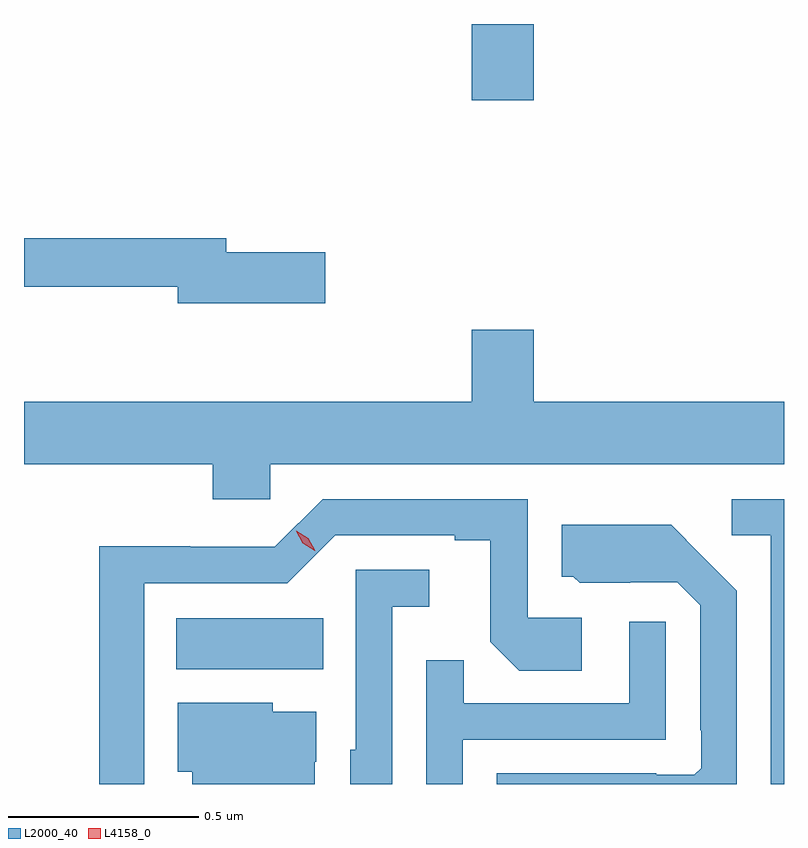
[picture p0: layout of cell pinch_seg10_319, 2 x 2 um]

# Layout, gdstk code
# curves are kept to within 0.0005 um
import gdstk
lib = gdstk.Library(unit=1e-6, precision=1e-09)
def R(c, l, rs):  # rectangles x0, y0, x1, y1
    for r in rs: c.add(gdstk.rectangle(r[:2], r[2:], *l))
def P(c, l, *ps):  # polygons
    for p in ps: c.add(gdstk.Polygon(p, *l))
L2000_40 = (2000, 40)
L4158_0 = (4158, 0)

pinch_seg10_319 = lib.new_cell('pinch_seg10_319')
R(pinch_seg10_319, L2000_40, [(415.979,1290.452,416.366,1290.586), (416.756,1291.95,416.92,1292.15)])
P(pinch_seg10_319, L2000_40, [(416.371,1291.55),(416.11,1291.55),(416.11,1291.586),(415.578,1291.586),(415.578,1291.458),(415.982,1291.458),(415.982,1291.415),(416.371,1291.415)],
  [(416.226,1290.992),(417.578,1290.992),(417.578,1291.156),(416.92,1291.156),(416.92,1291.345),(416.756,1291.345),(416.756,1291.156),(415.578,1291.156),(415.578,1290.992),(416.075,1290.992),(416.075,1290.899),(416.226,1290.899)],
  [(415.894,1290.678),(416.271,1290.678),(416.397,1290.804),(416.711,1290.804),(416.711,1290.792),(416.805,1290.792),(416.805,1290.524),(416.881,1290.448),(417.046,1290.448),(417.046,1290.588),(416.904,1290.588),(416.904,1290.9),(416.364,1290.9),(416.238,1290.774),(416.016,1290.774),(416.016,1290.776),(415.776,1290.776),(415.776,1290.15),(415.894,1290.15)],
  [(417.578,1290.9),(417.441,1290.9),(417.441,1290.804),(417.543,1290.804),(417.543,1290.15),(417.578,1290.15)],
  [(417.453,1290.658),(417.281,1290.832),(416.993,1290.832),(416.993,1290.696),(417.024,1290.696),(417.04,1290.68),(417.174,1290.68),(417.174,1290.681),(417.297,1290.681),(417.357,1290.621),(417.357,1290.292),(417.36,1290.292),(417.36,1290.192),(417.342,1290.174),(417.242,1290.174),(417.242,1290.178),(416.822,1290.178),(416.822,1290.15),(417.453,1290.15)],
  [(416.547,1290.617),(416.644,1290.617),(416.644,1290.714),(416.451,1290.714),(416.451,1290.24),(416.436,1290.24),(416.436,1290.15),(416.547,1290.15)],
  [(416.733,1290.267),(417.267,1290.267),(417.267,1290.577),(417.171,1290.577),(417.171,1290.363),(416.735,1290.363),(416.735,1290.476),(416.637,1290.476),(416.637,1290.15),(416.733,1290.15)],
  [(416.343,1290.208),(416.347,1290.208),(416.347,1290.34),(416.232,1290.34),(416.232,1290.364),(415.982,1290.364),(415.982,1290.182),(416.021,1290.182),(416.021,1290.15),(416.343,1290.15)])
P(pinch_seg10_319, L4158_0, [(416.343,1290.764),(416.312,1290.783),(416.294,1290.815),(416.294,1290.816),(416.294,1290.816),(416.326,1290.797),(416.344,1290.764),(416.344,1290.764)])

lib.write_gds('pinch_seg10_319.gds')
